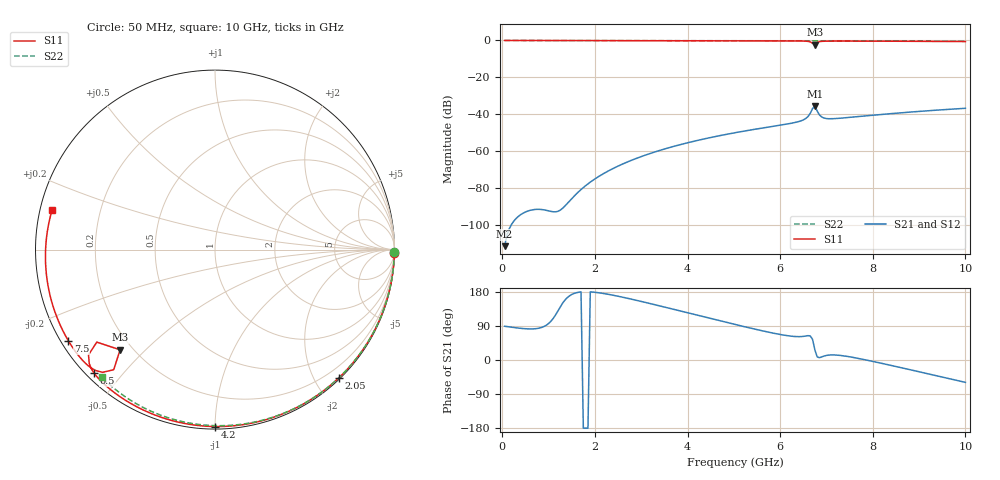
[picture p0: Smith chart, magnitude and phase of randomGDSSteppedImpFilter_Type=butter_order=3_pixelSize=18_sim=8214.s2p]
! freq	dB(S11)	phase(S11)	dB(S12)	phase(S12)
!  dB(S21)	phase(S21)	dB(S22)	phase(S22)
!S-par simulation data
#  GHz  S  DB  R 50
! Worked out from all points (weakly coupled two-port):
!   200 points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, 50 MHz to 10 GHz, reference 50 ohm
!   highest |S21| = -35.77 dB at 6.75 GHz (marker M1); lowest = -111.6 dB at 50 MHz (marker M2)
!   lowest |S11| = -2.3 dB at 6.75 GHz (marker M3), VSWR 7.65, Z = 7.72 - j21.1 ohm
!   |S11| at or under -10 dB: nowhere
!   |S22| runs from -0.4 to 0.0 dB; largest |S21 - S12| = 0
!   S11 on the Smith chart (normalised r, x): 50 MHz: 0, -99; 2.05 GHz: 0.02, -2.36; 4.2 GHz: 0.01, -1.00; 6.5 GHz: 0.02, -0.42; 7.5 GHz: 0.02, -0.29; 10 GHz: 0.03, +0.12
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0.05  -0.00 -1.2  -111.56 89.1  -111.56 89.1  -0.00 -0.8
0.85  -0.02 -19.4  -91.69 86.0  -91.69 86.0  -0.02 -12.8
1.75  -0.05 -39.5  -79.77 -179.9  -79.77 -179.9  -0.03 -26.2
2.05  -0.06 -46.0  -74.28 178.0  -74.28 178.0  -0.04 -30.6
2.65  -0.08 -58.8  -66.44 164.3  -66.44 164.3  -0.05 -39.3
3.4  -0.10 -74.2  -59.63 142.8  -59.63 142.8  -0.07 -49.9
4.2  -0.12 -90.0  -54.30 118.6  -54.30 118.6  -0.09 -60.9
5.05  -0.16 -106.1  -49.93 93.1  -49.93 93.1  -0.11 -72.2
5.9  -0.21 -121.9  -46.35 69.7  -46.35 69.7  -0.14 -83.2
6.5  -0.33 -134.4  -43.09 62.3  -43.09 62.3  -0.17 -90.6
6.6  -0.49 -137.8  -41.30 64.3  -41.30 64.3  -0.18 -91.9
6.65  -0.75 -140.2  -39.54 63.6  -39.54 63.6  -0.18 -92.5
6.7  -1.55 -142.0  -36.90 54.4  -36.90 54.4  -0.18 -93.1
6.75  -2.28 -133.4  -35.77 26.6  -35.77 26.6  -0.19 -93.7
6.8  -1.15 -130.1  -38.28 8.1  -38.28 8.1  -0.19 -94.3
6.85  -0.65 -132.5  -40.43 6.2  -40.43 6.2  -0.19 -94.9
6.95  -0.41 -136.3  -42.10 10.5  -42.10 10.5  -0.19 -96.1
7.1  -0.34 -140.1  -42.46 13.4  -42.46 13.4  -0.20 -97.9
7.5  -0.34 -148.1  -41.72 8.4  -41.72 8.4  -0.23 -102.7
8.35  -0.40 -163.4  -39.78 -13.1  -39.78 -13.1  -0.29 -112.7
9.2  -0.49 -178.7  -38.11 -36.6  -38.11 -36.6  -0.36 -122.4
10  -0.59 166.3  -36.79 -59.0  -36.79 -59.0  -0.44 -131.5
